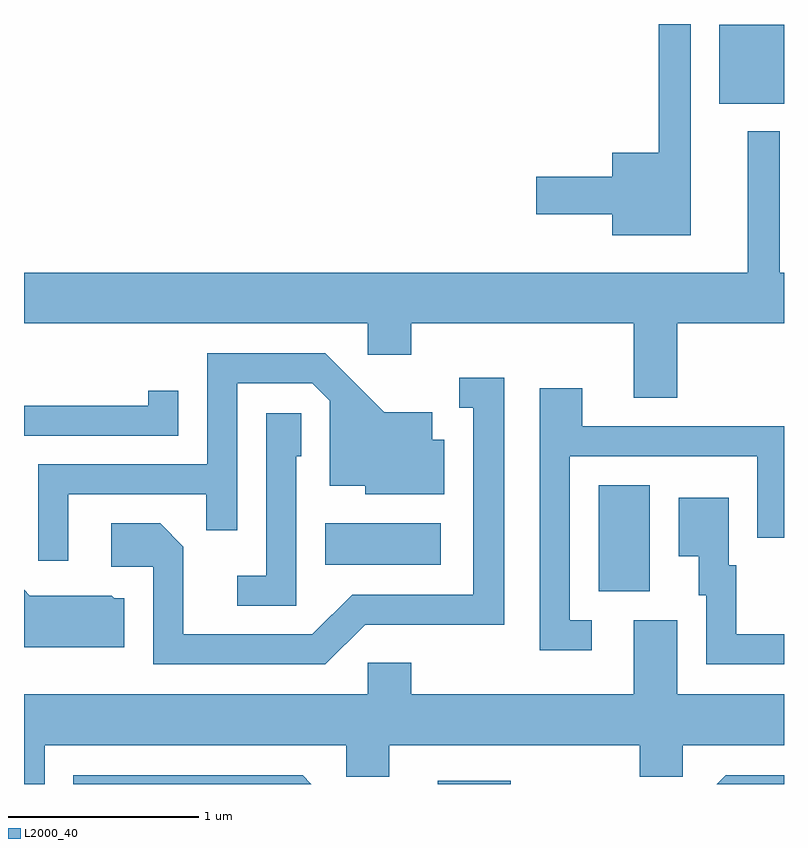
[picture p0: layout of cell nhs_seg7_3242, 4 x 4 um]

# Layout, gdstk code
import gdstk
lib = gdstk.Library(unit=1e-6, precision=1e-09)
def R(c, l, rs):  # rectangles x0, y0, x1, y1
    for r in rs: c.add(gdstk.rectangle(r[:2], r[2:], *l))
def P(c, l, *ps):  # polygons
    for p in ps: c.add(gdstk.Polygon(p, *l))
L2000_40 = (2000, 40)

nhs_seg7_3242 = lib.new_cell('nhs_seg7_3242')
R(nhs_seg7_3242, L2000_40, [(285.788,1796.252,286.174,1796.269), (286.636,1797.266,286.904,1797.824), (285.196,1797.406,285.804,1797.624), (287.271,1799.831,287.611,1800.249)])
P(nhs_seg7_3242, L2000_40, [(287.119,1800.252),(286.951,1800.252),(286.951,1799.574),(286.706,1799.574),(286.706,1799.449),(286.306,1799.449),(286.306,1799.251),(286.706,1799.251),(286.706,1799.141),(287.119,1799.141)],
  [(287.049,1798.676),(287.611,1798.676),(287.611,1798.944),(287.589,1798.944),(287.589,1799.688),(287.421,1799.688),(287.421,1798.944),(283.611,1798.944),(283.611,1798.676),(285.421,1798.676),(285.421,1798.511),(285.649,1798.511),(285.649,1798.676),(286.821,1798.676),(286.821,1798.286),(287.049,1798.286)],
  [(283.844,1797.776),(284.571,1797.776),(284.571,1797.588),(284.734,1797.588),(284.734,1798.361),(285.129,1798.361),(285.221,1798.269),(285.221,1797.821),(285.406,1797.821),(285.406,1797.776),(285.824,1797.776),(285.824,1798.064),(285.759,1798.064),(285.759,1798.209),(285.507,1798.209),(285.197,1798.519),(284.576,1798.519),(284.576,1797.934),(283.686,1797.934),(283.686,1797.428),(283.844,1797.428)],
  [(285.407,1797.091),(286.139,1797.091),(286.139,1798.389),(285.903,1798.389),(285.903,1798.231),(285.976,1798.231),(285.976,1797.249),(285.339,1797.249),(285.129,1797.039),(284.449,1797.039),(284.449,1797.502),(284.327,1797.624),(284.071,1797.624),(284.071,1797.396),(284.291,1797.396),(284.291,1796.881),(285.197,1796.881)],
  [(286.598,1797.114),(286.484,1797.114),(286.484,1797.976),(287.471,1797.976),(287.471,1797.548),(287.611,1797.548),(287.611,1798.134),(286.549,1798.134),(286.549,1798.334),(286.326,1798.334),(286.326,1796.956),(286.598,1796.956)],
  [(284.424,1798.323),(284.266,1798.323),(284.266,1798.244),(283.611,1798.244),(283.611,1798.086),(284.424,1798.086)],
  [(285.044,1797.976),(285.069,1797.976),(285.069,1798.204),(284.886,1798.204),(284.886,1797.349),(284.733,1797.349),(284.733,1797.191),(285.044,1797.191)],
  [(287.611,1797.039),(287.359,1797.039),(287.359,1797.404),(287.319,1797.404),(287.319,1797.759),(287.056,1797.759),(287.056,1797.451),(287.161,1797.451),(287.161,1797.246),(287.201,1797.246),(287.201,1796.881),(287.611,1796.881)],
  [(284.139,1797.229),(284.087,1797.229),(284.072,1797.244),(283.642,1797.244),(283.611,1797.275),(283.611,1796.971),(284.139,1796.971)],
  [(283.719,1796.456),(285.306,1796.456),(285.306,1796.291),(285.534,1796.291),(285.534,1796.456),(286.851,1796.456),(286.851,1796.291),(287.079,1796.291),(287.079,1796.456),(287.611,1796.456),(287.611,1796.724),(287.049,1796.724),(287.049,1797.114),(286.821,1797.114),(286.821,1796.724),(285.649,1796.724),(285.649,1796.889),(285.421,1796.889),(285.421,1796.724),(283.611,1796.724),(283.611,1796.252),(283.719,1796.252)],
  [(287.611,1796.299),(287.304,1796.299),(287.257,1796.252),(287.611,1796.252)],
  [(285.077,1796.299),(283.871,1796.299),(283.871,1796.252),(285.124,1796.252)])

lib.write_gds('nhs_seg7_3242.gds')
